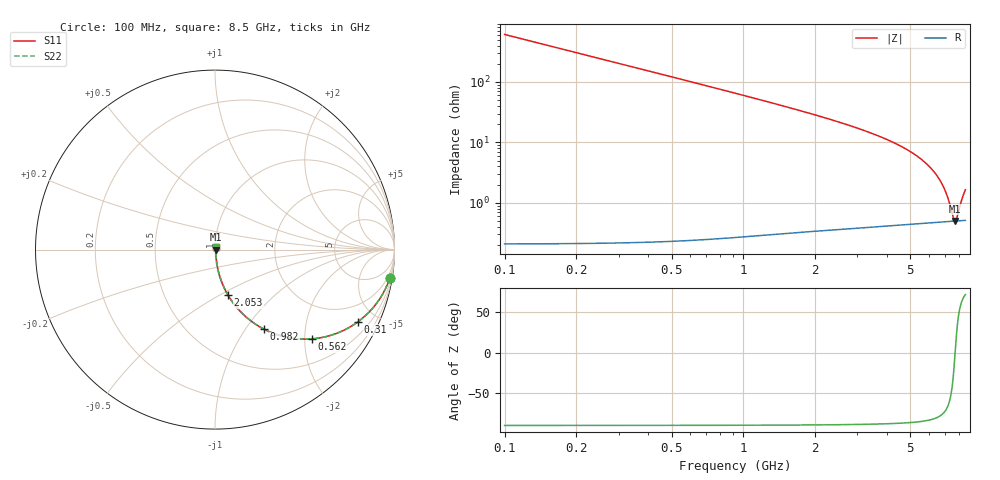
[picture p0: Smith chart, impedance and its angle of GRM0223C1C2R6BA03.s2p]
!Murata Part Number: GRM0223C1C2R6BA03
!These Parameters are Measured in Series Mode Connection
!Data Generated on Mar 30, 2021
!  o--ll--o
!Port1  Port2
!  o------o
!Operation Temp=25[degC], DC Bias Voltage=0[V]
!Freq. Start=100[MHz] Stop=9[GHz] 401[Steps]
# Hz S RI R 50
!Freq.(Hz) S11(Real) S11(Imag) S21(Real) S21(Imag) S12(Real) S12(Imag) S22(Real) S22(Imag)
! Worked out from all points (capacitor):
!   401 points, 100 MHz to 8.5 GHz, reference 50 ohm
!   read as one part in series: C = 2.6 pF near 142 MHz
!   lowest |Z| = 498 mohm at 7.702 GHz (marker M1)
!   series resonance near 7.698 GHz, so ESL is about 160 pH
!   S11 on the Smith chart (normalised r, x): 100 MHz: 1, -12; 310 MHz: 1.00, -3.94; 562 MHz: 1.00, -2.17; 982 MHz: 1.01, -1.22; 2.053 GHz: 1.01, -0.55; 8.5 GHz: 1.01, +0.03
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1e8  0.9739 -0.1591  0.0261 0.1591  0.0261 0.1591  0.9739 -0.1591
2.05e8  0.8988 -0.3012  0.1012 0.3012  0.1012 0.3012  0.8988 -0.3012
3.1e8  0.795 -0.4031  0.205 0.4031  0.205 0.4031  0.795 -0.4031
4.36e8  0.6616 -0.4724  0.3384 0.4724  0.3384 0.4724  0.6616 -0.4724
5.62e8  0.5396 -0.4973  0.4604 0.4973  0.4604 0.4973  0.5396 -0.4973
7.72e8  0.3811 -0.4841  0.6189 0.4841  0.6189 0.4841  0.3811 -0.4841
9.82e8  0.2736 -0.4436  0.7264 0.4436  0.7264 0.4436  0.2736 -0.4436
1.213e9  0.1958 -0.3939  0.8042 0.3939  0.8042 0.3939  0.1958 -0.3939
1.507e9  0.1338 -0.3365  0.8662 0.3365  0.8662 0.3365  0.1338 -0.3365
2.053e9  0.0735 -0.2548  0.9265 0.2548  0.9265 0.2548  0.0735 -0.2548
2.914e9  0.0345 -0.1723  0.9655 0.1723  0.9655 0.1723  0.0345 -0.1723
4.3e9  0.0134 -0.0955  0.9866 0.0955  0.9866 0.0955  0.0134 -0.0955
5.707e9  0.00681 -0.0473  0.9932 0.0473  0.9932 0.0473  0.00681 -0.0473
6.148e9  0.00591 -0.0353  0.9941 0.0353  0.9941 0.0353  0.00591 -0.0353
6.526e9  0.00541 -0.0259  0.9946 0.0259  0.9946 0.0259  0.00541 -0.0259
6.841e9  0.00514 -0.0184  0.9949 0.0184  0.9949 0.0184  0.00514 -0.0184
7.114e9  0.005 -0.0123  0.995 0.0123  0.995 0.0123  0.005 -0.0123
7.576e9  0.00494 -0.00249  0.9951 0.00249  0.9951 0.00249  0.00494 -0.00249
7.702e9  0.00496 7.79e-05  0.995 -7.79e-05  0.995 -7.79e-05  0.00496 7.79e-05
7.828e9  0.00499 0.0026  0.995 -0.0026  0.995 -0.0026  0.00499 0.0026
8.248e9  0.00517 0.0107  0.9948 -0.0107  0.9948 -0.0107  0.00517 0.0107
8.5e9  0.00533 0.0154  0.9947 -0.0154  0.9947 -0.0154  0.00533 0.0154
